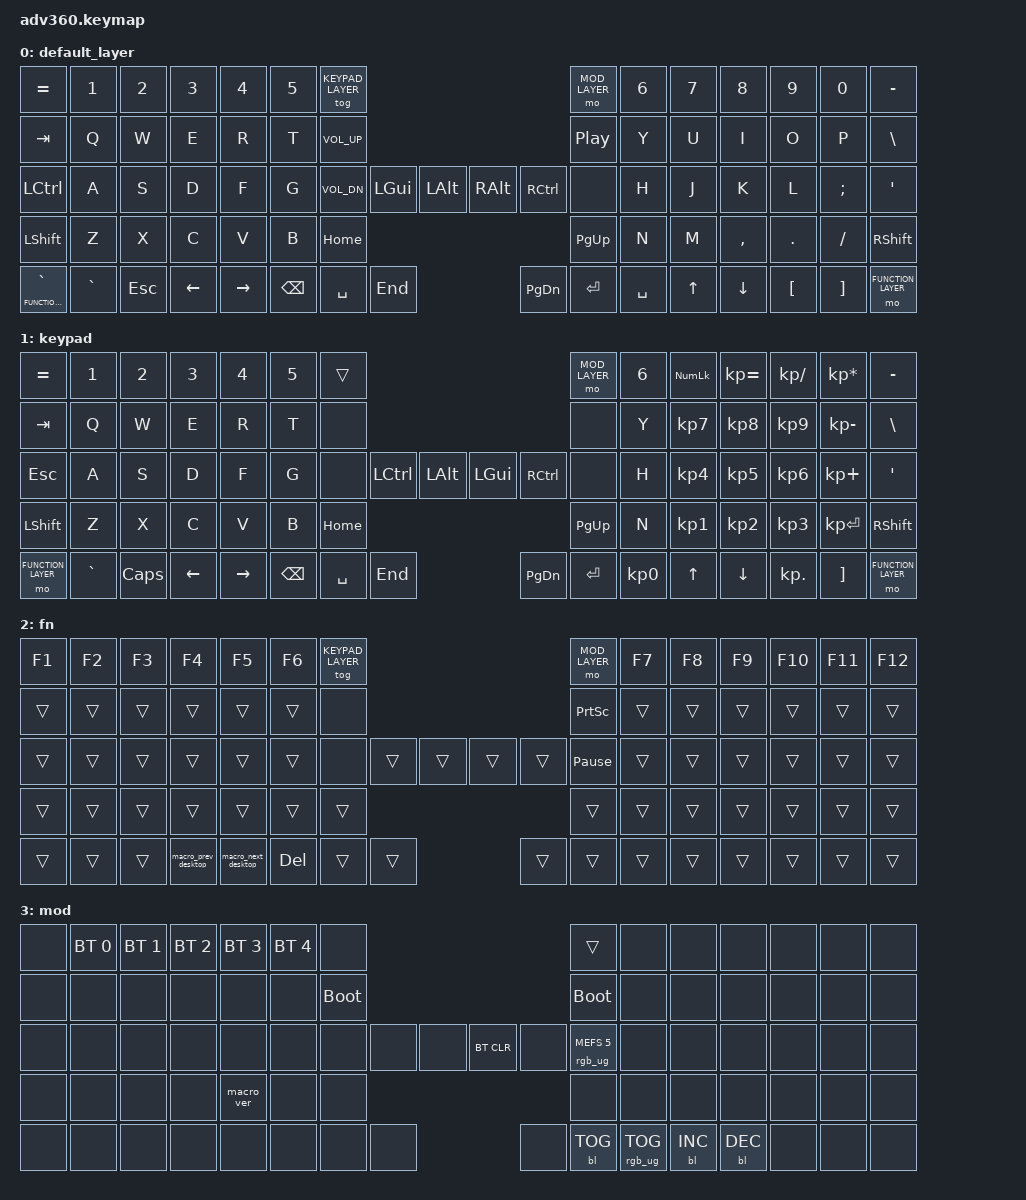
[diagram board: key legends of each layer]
#include <behaviors.dtsi>
#include <dt-bindings/zmk/keys.h>
#include <dt-bindings/zmk/bt.h>
#include <dt-bindings/zmk/rgb.h>
#include <dt-bindings/zmk/backlight.h>
#define VOL_DN C_VOL_DN
#define VOL_UP C_VOL_UP

#define DEFAULT_LAYER 0
#define KEYPAD_LAYER 1
#define FUNCTION_LAYER 2
#define MOD_LAYER 3

/ {
    behaviors {
      #include "macros.dtsi"
      #include "version.dtsi"
      #ifndef VERSION_MACRO
      macro_ver: macro_ver {
        compatible = "zmk,behavior-macro";
        label = "macro_version";
        #binding-cells = <0>;
        bindings = <&kp RET>;
      };
      #endif

      hm: homerow_mods {
          compatible = "zmk,behavior-hold-tap";
          label = "HOMEROW_MODS";
          #binding-cells = <2>;
          tapping-term-ms = <200>;
          quick_tap_ms = <175>;
          flavor = "tap-preferred";
          bindings = <&kp>, <&kp>;
      };
    };

  keymap {
    compatible = "zmk,keymap";

    default_layer {
      bindings = <
        &kp EQUAL &kp N1    &kp N2   &kp N3   &kp N4     &kp N5 &tog KEYPAD_LAYER                                                    &mo MOD_LAYER    &kp N6 &kp N7 &kp N8    &kp N9   &kp N0   &kp MINUS
        &kp TAB   &kp Q     &kp W    &kp E    &kp R      &kp T  &kp VOL_UP                                                           &kp C_PLAY_PAUSE &kp Y  &kp U  &kp I     &kp O    &kp P    &kp BSLH
        &kp LCTRL &kp A     &kp S    &kp D    &kp F      &kp G  &kp VOL_DN          &kp LGUI &kp LALT &kp RALT   &kp RCTRL           &none            &kp H  &kp J  &kp K     &kp L    &kp SEMI &kp SQT
        &kp LSHFT &kp Z     &kp X    &kp C    &kp V      &kp B                                  &kp HOME &kp PG_UP                                      &kp N  &kp M  &kp COMMA &kp DOT  &kp FSLH &kp RSHFT
        &lt FUNCTION_LAYER GRAVE &kp GRAVE &kp ESC &kp LEFT &kp RIGHT      &kp BSPC &kp SPACE &kp END  &kp PG_DN &kp ENTER &kp SPACE                           &kp UP &kp DOWN  &kp LBKT &kp RBKT &mo FUNCTION_LAYER
      >;
    };
    keypad {
      bindings = <
        &kp EQUAL          &kp N1    &kp N2   &kp N3   &kp N4     &kp N5 &trans                                                           &mo MOD_LAYER &kp N6 &kp KP_NUM &kp KP_EQUAL &kp KP_DIVIDE &kp KP_MULTIPLY &kp MINUS
        &kp TAB            &kp Q     &kp W    &kp E    &kp R      &kp T  &none                                                            &none &kp Y   &kp KP_N7  &kp KP_N8    &kp KP_N9     &kp KP_MINUS    &kp BSLH
        &kp ESC            &kp A     &kp S    &kp D    &kp F      &kp G  &none           &kp LCTRL &kp LALT &kp LGUI  &kp RCTRL           &none &kp H   &kp KP_N4  &kp KP_N5    &kp KP_N6     &kp KP_PLUS     &kp SQT
        &kp LSHFT          &kp Z     &kp X    &kp C    &kp V      &kp B                            &kp HOME &kp PG_UP                           &kp N   &kp KP_N1  &kp KP_N2    &kp KP_N3     &kp KP_ENTER    &kp RSHFT
        &mo FUNCTION_LAYER &kp GRAVE &kp CAPS &kp LEFT &kp RIGHT                &kp BSPC &kp SPACE &kp END  &kp PG_DN &kp ENTER &kp KP_N0               &kp UP     &kp DOWN     &kp KP_DOT    &kp RBKT        &mo FUNCTION_LAYER
      >;
    };
    fn {
      bindings = <
        &kp F1 &kp F2 &kp F3 &kp F4 &kp F5 &kp F6 &tog KEYPAD_LAYER                                                    &mo MOD_LAYER &kp F7 &kp F8 &kp F9 &kp F10 &kp F11 &kp F12
        &trans &trans &trans &trans &trans &trans  &none                                                               &kp PSCRN &trans &trans &trans &trans  &trans  &trans
        &trans &trans &trans &trans &trans &trans  &none                      &trans &trans &trans &trans              &kp PAUSE_BREAK &trans &trans &trans &trans  &trans  &trans
        &trans &trans &trans &trans &trans &trans                                    &trans &trans                     &trans &trans &trans &trans  &trans  &trans
        &trans &trans &trans &macro_prev_desktop &macro_next_desktop  &kp DEL &trans &trans &trans &trans &trans       &trans &trans &trans  &trans  &trans
      >;
    };
    mod {
      bindings = <
        &none &bt BT_SEL 0 &bt BT_SEL 1 &bt BT_SEL 2 &bt BT_SEL 3 &bt BT_SEL 4 &none                                                                     &trans                 &none        &none        &none        &none &none &none
        &none &none        &none        &none        &none        &none        &bootloader                                                               &bootloader            &none        &none        &none        &none &none &none
        &none &none        &none        &none        &none        &none        &none                   &none &none &bt BT_CLR &none                      &rgb_ug RGB_MEFS_CMD 5 &none        &none        &none        &none &none &none
        &none &none        &none        &none        &macro_ver   &none                                      &none &none                                                        &none        &none        &none        &none &none &none
        &none &none        &none        &none        &none                                       &none &none &none &none      &bl BL_TOG &rgb_ug RGB_TOG                                     &bl BL_INC   &bl BL_DEC   &none &none &none
      >;
    };
  };
};
